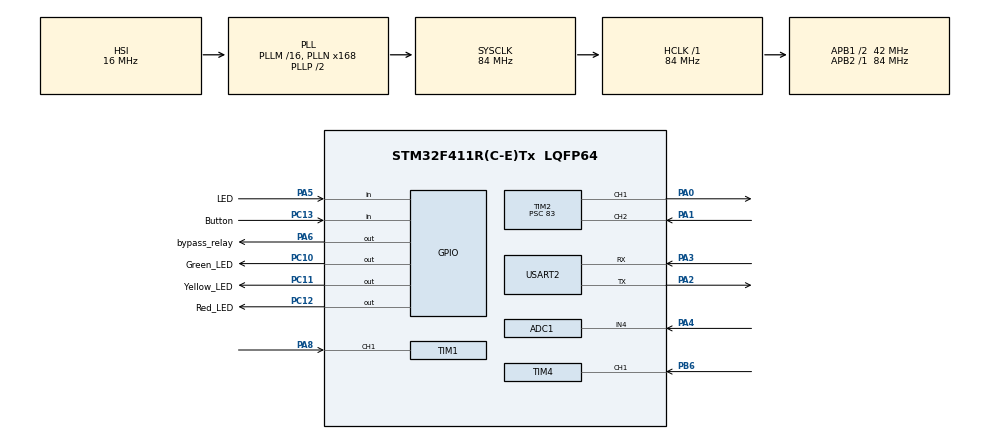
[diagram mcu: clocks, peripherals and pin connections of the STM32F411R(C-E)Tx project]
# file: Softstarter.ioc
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ADC1.Channel-12\#ChannelRegularConversion=ADC_CHANNEL_4
ADC1.ClockPrescaler=ADC_CLOCK_SYNC_PCLK_DIV4
ADC1.ContinuousConvMode=DISABLE
ADC1.DMAContinuousRequests=ENABLE
ADC1.DataAlign=ADC_DATAALIGN_RIGHT
ADC1.DiscontinuousConvMode=DISABLE
ADC1.EOCSelection=ADC_EOC_SEQ_CONV
ADC1.EnableAnalogWatchDog=false
ADC1.ExternalTrigConv=ADC_EXTERNALTRIGCONV_T3_TRGO
ADC1.ExternalTrigConvEdge=ADC_EXTERNALTRIGCONVEDGE_RISING
ADC1.InjNumberOfConversion=0
ADC1.NbrOfConversion=1
ADC1.NbrOfConversionFlag=1
ADC1.Rank-12\#ChannelRegularConversion=1
ADC1.Resolution=ADC_RESOLUTION_12B
ADC1.SamplingTime-12\#ChannelRegularConversion=ADC_SAMPLETIME_3CYCLES
ADC1.ScanConvMode=DISABLE
ADC1.master=1
Dma.ADC1.0.Direction=DMA_PERIPH_TO_MEMORY
Dma.ADC1.0.FIFOMode=DMA_FIFOMODE_DISABLE
Dma.ADC1.0.Instance=DMA2_Stream0
Dma.ADC1.0.MemDataAlignment=DMA_MDATAALIGN_HALFWORD
Dma.ADC1.0.MemInc=DMA_MINC_ENABLE
Dma.ADC1.0.Mode=DMA_CIRCULAR
Dma.ADC1.0.PeriphDataAlignment=DMA_PDATAALIGN_HALFWORD
Dma.ADC1.0.PeriphInc=DMA_PINC_DISABLE
Dma.ADC1.0.Priority=DMA_PRIORITY_LOW
Dma.Request0=ADC1
FREERTOS.Tasks01=Ramp,0,128,RampTask,Default,NULL,Dynamic,NULL,NULL;Verify,0,128,VerifyTask,Default,NULL,Dynamic,NULL,NULL;Counter,0,128,CounterTask,Default,NULL,Dynamic,NULL,NULL;Serial,0,128,SerialTask,Default,NULL,Dynamic,NULL,NULL;OverCurrent,0,128,OverCurrentTask,Default,NULL,Dynamic,NULL,NULL;Comeca,3,128,Comeca_Task,Default,NULL,Dynamic,NULL,NULL;RPM,0,128,RPMTask,Default,NULL,Dynamic,NULL,NULL
Mcu.Family=STM32F4
Mcu.Name=STM32F411R(C-E)Tx
Mcu.Package=LQFP64
NVIC.ADC_IRQn=true\:5\:0\:false\:false\:true\:true\:true
NVIC.DMA2_Stream0_IRQn=true\:5\:0\:false\:false\:true\:true\:false
NVIC.PriorityGroup=NVIC_PRIORITYGROUP_4
NVIC.TIM1_TRG_COM_TIM11_IRQn=true\:0\:0\:false\:false\:true\:false\:false
NVIC.TIM2_IRQn=true\:5\:0\:false\:false\:true\:true\:true
NVIC.TimeBase=TIM1_TRG_COM_TIM11_IRQn
NVIC.TimeBaseIP=TIM11
NVIC.USART2_IRQn=true\:5\:0\:false\:false\:true\:true\:true
PA0-WKUP.Signal=S_TIM2_CH1_ETR
PA1.Signal=S_TIM2_CH2
PA2.Mode=Asynchronous
PA2.Signal=USART2_TX
PA3.Mode=Asynchronous
PA3.Signal=USART2_RX
PA4.Signal=ADCx_IN4
PA5.GPIO_Label=LED
PA5.Signal=GPIO_Input
PA6.GPIO_Label=bypass_relay
PA6.Signal=GPIO_Output
PA8.Signal=S_TIM1_CH1
PB6.Signal=S_TIM4_CH1
PC10.GPIO_Label=Green_LED
PC10.Signal=GPIO_Output
PC11.GPIO_Label=Yellow_LED
PC11.Signal=GPIO_Output
PC12.GPIO_Label=Red_LED
PC12.Signal=GPIO_Output
PC13-ANTI_TAMP.GPIO_Label=Button
PC13-ANTI_TAMP.Signal=GPIO_Input
ProjectManager.HeapSize=0x200
ProjectManager.StackSize=0x400
ProjectManager.TargetToolchain=SW4STM32
RCC.48MHZClocksFreq_Value=42000000
RCC.AHBFreq_Value=84000000
RCC.APB1CLKDivider=RCC_HCLK_DIV2
RCC.APB1Freq_Value=42000000
RCC.APB1TimFreq_Value=84000000
RCC.APB2Freq_Value=84000000
RCC.APB2TimFreq_Value=84000000
RCC.CortexFreq_Value=84000000
RCC.HCLKFreq_Value=84000000
RCC.HSE_VALUE=25000000
RCC.HSI_VALUE=16000000
RCC.LSE_VALUE=32768
RCC.PLLN=168
RCC.SYSCLKFreq_VALUE=84000000
RCC.SYSCLKSource=RCC_SYSCLKSOURCE_PLLCLK
RCC.VCOOutputFreq_Value=168000000
SH.ADCx_IN4.0=ADC1_IN4,IN4
SH.S_TIM1_CH1.0=TIM1_CH1,TriggerSource_TI1FP1
SH.S_TIM2_CH1_ETR.0=TIM2_CH1,PWM Generation1 CH1
SH.S_TIM2_CH2.0=TIM2_CH2,TriggerSource_TI2FP2
SH.S_TIM4_CH1.0=TIM4_CH1,TriggerSource_TI1FP1
TIM1.Period=9999
TIM1.Prescaler=0
TIM2.Channel-PWM\ Generation1\ CH1=TIM_CHANNEL_1
TIM2.OCMode_PWM-PWM\ Generation1\ CH1=TIM_OCMODE_PWM2
TIM2.Period=8333
TIM2.Prescaler=83
TIM3.Period=520
TIM3.Prescaler=83
TIM3.TIM_MasterOutputTrigger=TIM_TRGO_UPDATE
TIM4.Period=9999
TIM4.Slave_TriggerFilter=0
USART2.VirtualMode=VM_ASYNC
VP_FREERTOS_VS_ENABLE.Mode=Enabled
VP_SYS_VS_tim11.Mode=TIM11
VP_TIM1_VS_ControllerModeClock.Mode=Clock Mode
VP_TIM2_VS_ClockSourceINT.Mode=Internal
VP_TIM2_VS_ControllerModeTrigger.Mode=Trigger Mode
VP_TIM2_VS_OPM.Mode=OPM_bit
VP_TIM3_VS_ClockSourceINT.Mode=Internal
VP_TIM4_VS_ControllerModeClock.Mode=Clock Mode
board=Softstarter

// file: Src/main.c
/**
 ******************************************************************************
 * @file           : main.c
 * @brief          : Main program body
 ******************************************************************************
 * This notice applies to any and all portions of this file
 * that are not between comment pairs USER CODE BEGIN and
 * USER CODE END. Other portions of this file, whether
 * inserted by the user or by software development tools
 * are owned by their respective copyright owners.
 *
 * Copyright (c) 2018 STMicroelectronics International N.V.
 * All rights reserved.
 *
 * Redistribution and use in source and binary forms, with or without
 * modification, are permitted, provided that the following conditions are met:
 *
 * 1. Redistribution of source code must retain the above copyright notice,
 *    this list of conditions and the following disclaimer.
 * 2. Redistributions in binary form must reproduce the above copyright notice,
 *    this list of conditions and the following disclaimer in the documentation
 *    and/or other materials provided with the distribution.
 * 3. Neither the name of STMicroelectronics nor the names of other
 *    contributors to this software may be used to endorse or promote products
 *    derived from this software without specific written permission.
 * 4. This software, including modifications and/or derivative works of this
 *    software, must execute solely and exclusively on microcontroller or
 *    microprocessor devices manufactured by or for STMicroelectronics.
 * 5. Redistribution and use of this software other than as permitted under
 *    this license is void and will automatically terminate your rights under
 *    this license.
 *
 * THIS SOFTWARE IS PROVIDED BY STMICROELECTRONICS AND CONTRIBUTORS "AS IS"
 * AND ANY EXPRESS, IMPLIED OR STATUTORY WARRANTIES, INCLUDING, BUT NOT
 * LIMITED TO, THE IMPLIED WARRANTIES OF MERCHANTABILITY, FITNESS FOR A
 * PARTICULAR PURPOSE AND NON-INFRINGEMENT OF THIRD PARTY INTELLECTUAL PROPERTY
 * RIGHTS ARE DISCLAIMED TO THE FULLEST EXTENT PERMITTED BY LAW. IN NO EVENT
 * SHALL STMICROELECTRONICS OR CONTRIBUTORS BE LIABLE FOR ANY DIRECT, INDIRECT,
 * INCIDENTAL, SPECIAL, EXEMPLARY, OR CONSEQUENTIAL DAMAGES (INCLUDING, BUT NOT
 * LIMITED TO, PROCUREMENT OF SUBSTITUTE GOODS OR SERVICES; LOSS OF USE, DATA,
 * OR PROFITS; OR BUSINESS INTERRUPTION) HOWEVER CAUSED AND ON ANY THEORY OF
 * LIABILITY, WHETHER IN CONTRACT, STRICT LIABILITY, OR TORT (INCLUDING
 * NEGLIGENCE OR OTHERWISE) ARISING IN ANY WAY OUT OF THE USE OF THIS SOFTWARE,
 * EVEN IF ADVISED OF THE POSSIBILITY OF SUCH DAMAGE.
 *
 ******************************************************************************
 */
#include "main.h"
#include "math.h"
#include "stdio.h"
#include "stm32f4xx_hal.h"
#include "cmsis_os.h"

ADC_HandleTypeDef hadc1;
DMA_HandleTypeDef hdma_adc1;

TIM_HandleTypeDef htim1;
TIM_HandleTypeDef htim2;
TIM_HandleTypeDef htim3;
TIM_HandleTypeDef htim4;

UART_HandleTypeDef huart2;

osThreadId RampHandle;
osThreadId VerifyHandle;
osThreadId CounterHandle;
osThreadId SerialHandle;
osThreadId OverCurrentHandle;
osThreadId ComecaHandle;
osThreadId RPMHandle;

/* USER CODE BEGIN PV */
/* Private variables ---------------------------------------------------------*/

/* USER CODE END PV */

void SystemClock_Config(void);
static void MX_GPIO_Init(void);
static void MX_DMA_Init(void);
static void MX_USART2_UART_Init(void);
static void MX_TIM2_Init(void);
static void MX_TIM1_Init(void);
static void MX_ADC1_Init(void);
static void MX_TIM3_Init(void);
static void MX_TIM4_Init(void);

//! Counts up or down depending on the settings
void RampTask(void const * argument);

//! Monitors the current percentage and if the board button is pressed
void VerifyTask(void const * argument);

//! Verifies for the end of ramps and 150% overcurrent protection
void CounterTask(void const * argument);

//! Responsable for the serial stuff
void SerialTask(void const * argument);

//! Calculates the RMS current based on the ADC read
void OverCurrentTask(void const * argument);

//! Initialize all the peripherals and then lock the thread itself
void Comeca_Task(void const * argument);

//! Measure and calculates the RPM
void RPMTask(void const * argument);

void HAL_TIM_MspPostInit(TIM_HandleTypeDef *htim);

/* USER CODE BEGIN PFP */
/* Private function prototypes -----------------------------------------------*/
//! If it's on the soft is in a ramp
char fg_Start = 0;

//! Shows if the soft is idle
char fg_End = 1;

//! Indicates if the ADC conversion is over
char fg_ADC_current = 0;

//! Is the acceleration time in milliseconds
int tempo_up = 10000;

//! Deceleration time in milliseconds
int tempo_down = 7000;

//! time used as a reference for the ramps in milliseconds
float tempo;

//! Delay to the pulse on triac in microseconds
int PULSE_DELAY = 8330;

//! Width of the triac's pulse in microseconds
int PULSE_WIDTH = 1;

//! Reference pulse width for the triac in microseconds
int PULSE_WIDTH_CONST = 1000;

//! Minimal delay time to triac
int minimal_delay = 500;

//! It's part of the process to determine the PULSE_DELAY
float delay;

//! Defines if it's a acceleration or deceleration ramp
int RampUp = 1;

//! Is the RPM of the motor
int RPM;

//! The time variable responsible for the entire counting process
int counter;

//! Is the current RMS
int Irms;

//! Is the relation between the 12 bits from the ADC and the current itself. It basically converts the voltage into current
float relation = 1.4325;

//! Is the nominal current of the motor
int corrente_nominal = 400;

//! Indicates if the soft shall start through the serial
int fg_serial = 0;

//! Is a vector of reads from the ADC
uint16_t adc_current[16];

/* USER CODE END PFP */

/* USER CODE BEGIN 0 */

//! Is the callback from the DMA which stands for the end of conversion
void HAL_ADC_ConvCpltCallback(ADC_HandleTypeDef* hadc) {
	fg_ADC_current = 1;
}
/* USER CODE END 0 */

int main(void) {

	/* MCU Configuration----------------------------------------------------------*/

	/* Reset of all peripherals, Initializes the Flash interface and the Systick. */
	HAL_Init();

	/* Configure the system clock */
	SystemClock_Config();

	/* Initialize all configured peripherals */
	MX_GPIO_Init();
	MX_DMA_Init();
	MX_USART2_UART_Init();
	MX_TIM2_Init();
	MX_TIM1_Init();
	MX_ADC1_Init();
	MX_TIM3_Init();
	MX_TIM4_Init();

	/* Create the thread(s) */
	/* definition and creation of Ramp */
	osThreadDef(Ramp, RampTask, osPriorityNormal, 0, 128);
	RampHandle = osThreadCreate(osThread(Ramp), NULL);

	/* definition and creation of Verify */
	osThreadDef(Verify, VerifyTask, osPriorityNormal, 0, 128);
	VerifyHandle = osThreadCreate(osThread(Verify), NULL);

	/* definition and creation of Counter */
	osThreadDef(Counter, CounterTask, osPriorityNormal, 0, 128);
	CounterHandle = osThreadCreate(osThread(Counter), NULL);

	/* definition and creation of Serial */
	osThreadDef(Serial, SerialTask, osPriorityNormal, 0, 128);
	SerialHandle = osThreadCreate(osThread(Serial), NULL);

	/* definition and creation of OverCurrent */
	osThreadDef(OverCurrent, OverCurrentTask, osPriorityNormal, 0, 128);
	OverCurrentHandle = osThreadCreate(osThread(OverCurrent), NULL);

	/* definition and creation of Comeca */
	osThreadDef(Comeca, Comeca_Task, osPriorityRealtime, 0, 128);
	ComecaHandle = osThreadCreate(osThread(Comeca), NULL);

	/* definition and creation of RPM */
	osThreadDef(RPM, RPMTask, osPriorityNormal, 0, 128);
	RPMHandle = osThreadCreate(osThread(RPM), NULL);

	/* Start scheduler */
	osKernelStart();

	/* We should never get here as control is now taken by the scheduler */

	/* Infinite loop */
	while (1) {

	}

}

void SystemClock_Config(void) {

	RCC_OscInitTypeDef RCC_OscInitStruct;
	RCC_ClkInitTypeDef RCC_ClkInitStruct;

	/**Configure the main internal regulator output voltage
	 */
	__HAL_RCC_PWR_CLK_ENABLE()
	;

	__HAL_PWR_VOLTAGESCALING_CONFIG(PWR_REGULATOR_VOLTAGE_SCALE1);

	/**Initializes the CPU, AHB and APB busses clocks
	 */
	RCC_OscInitStruct.OscillatorType = RCC_OSCILLATORTYPE_HSI;
	RCC_OscInitStruct.HSIState = RCC_HSI_ON;
	RCC_OscInitStruct.HSICalibrationValue = 16;
	RCC_OscInitStruct.PLL.PLLState = RCC_PLL_ON;
	RCC_OscInitStruct.PLL.PLLSource = RCC_PLLSOURCE_HSI;
	RCC_OscInitStruct.PLL.PLLM = 16;
	RCC_OscInitStruct.PLL.PLLN = 168;
	RCC_OscInitStruct.PLL.PLLP = RCC_PLLP_DIV2;
	RCC_OscInitStruct.PLL.PLLQ = 4;
	if (HAL_RCC_OscConfig(&RCC_OscInitStruct) != HAL_OK) {
		_Error_Handler(__FILE__, __LINE__);
	}

	/**Initializes the CPU, AHB and APB busses clocks
	 */
	RCC_ClkInitStruct.ClockType = RCC_CLOCKTYPE_HCLK | RCC_CLOCKTYPE_SYSCLK
			| RCC_CLOCKTYPE_PCLK1 | RCC_CLOCKTYPE_PCLK2;
	RCC_ClkInitStruct.SYSCLKSource = RCC_SYSCLKSOURCE_PLLCLK;
	RCC_ClkInitStruct.AHBCLKDivider = RCC_SYSCLK_DIV1;
	RCC_ClkInitStruct.APB1CLKDivider = RCC_HCLK_DIV2;
	RCC_ClkInitStruct.APB2CLKDivider = RCC_HCLK_DIV1;

	if (HAL_RCC_ClockConfig(&RCC_ClkInitStruct, FLASH_LATENCY_2) != HAL_OK) {
		_Error_Handler(__FILE__, __LINE__);
	}

	/**Configure the Systick interrupt time
	 */
	HAL_SYSTICK_Config(HAL_RCC_GetHCLKFreq() / 1000);

	/**Configure the Systick
	 */
	HAL_SYSTICK_CLKSourceConfig(SYSTICK_CLKSOURCE_HCLK);

	/* SysTick_IRQn interrupt configuration */
	HAL_NVIC_SetPriority(SysTick_IRQn, 15, 0);
}

/* ADC1 init function */
static void MX_ADC1_Init(void) {

	ADC_ChannelConfTypeDef sConfig;

	/**Configure the global features of the ADC (Clock, Resolution, Data Alignment and number of conversion)
	 */
	hadc1.Instance = ADC1;
	hadc1.Init.ClockPrescaler = ADC_CLOCK_SYNC_PCLK_DIV4;
	hadc1.Init.Resolution = ADC_RESOLUTION_12B;
	hadc1.Init.ScanConvMode = DISABLE;
	hadc1.Init.ContinuousConvMode = DISABLE;
	hadc1.Init.DiscontinuousConvMode = DISABLE;
	hadc1.Init.ExternalTrigConvEdge = ADC_EXTERNALTRIGCONVEDGE_RISING;
	hadc1.Init.ExternalTrigConv = ADC_EXTERNALTRIGCONV_T3_TRGO;
	hadc1.Init.DataAlign = ADC_DATAALIGN_RIGHT;
	hadc1.Init.NbrOfConversion = 1;
	hadc1.Init.DMAContinuousRequests = ENABLE;
	hadc1.Init.EOCSelection = ADC_EOC_SEQ_CONV;
	if (HAL_ADC_Init(&hadc1) != HAL_OK) {
		_Error_Handler(__FILE__, __LINE__);
	}

	/**Configure for the selected ADC regular channel its corresponding rank in the sequencer and its sample time.
	 */
	sConfig.Channel = ADC_CHANNEL_4;
	sConfig.Rank = 1;
	sConfig.SamplingTime = ADC_SAMPLETIME_3CYCLES;
	if (HAL_ADC_ConfigChannel(&hadc1, &sConfig) != HAL_OK) {
		_Error_Handler(__FILE__, __LINE__);
	}

}

/* TIM1 init function */
static void MX_TIM1_Init(void) {

	TIM_SlaveConfigTypeDef sSlaveConfig;
	TIM_MasterConfigTypeDef sMasterConfig;

	htim1.Instance = TIM1;
	htim1.Init.Prescaler = 0;
	htim1.Init.CounterMode = TIM_COUNTERMODE_UP;
	htim1.Init.Period = 9999;
	htim1.Init.ClockDivision = TIM_CLOCKDIVISION_DIV1;
	htim1.Init.RepetitionCounter = 0;
	if (HAL_TIM_Base_Init(&htim1) != HAL_OK) {
		_Error_Handler(__FILE__, __LINE__);
	}

	sSlaveConfig.SlaveMode = TIM_SLAVEMODE_EXTERNAL1;
	sSlaveConfig.InputTrigger = TIM_TS_TI1FP1;
	sSlaveConfig.TriggerPolarity = TIM_TRIGGERPOLARITY_RISING;
	sSlaveConfig.TriggerFilter = 0;
	if (HAL_TIM_SlaveConfigSynchronization(&htim1, &sSlaveConfig) != HAL_OK) {
		_Error_Handler(__FILE__, __LINE__);
	}

	sMasterConfig.MasterOutputTrigger = TIM_TRGO_RESET;
	sMasterConfig.MasterSlaveMode = TIM_MASTERSLAVEMODE_DISABLE;
	if (HAL_TIMEx_MasterConfigSynchronization(&htim1, &sMasterConfig)
			!= HAL_OK) {
		_Error_Handler(__FILE__, __LINE__);
	}

}

/* TIM2 init function */
static void MX_TIM2_Init(void) {

	TIM_ClockConfigTypeDef sClockSourceConfig;
	TIM_SlaveConfigTypeDef sSlaveConfig;
	TIM_MasterConfigTypeDef sMasterConfig;
	TIM_OC_InitTypeDef sConfigOC;

	htim2.Instance = TIM2;
	htim2.Init.Prescaler = 83;
	htim2.Init.CounterMode = TIM_COUNTERMODE_UP;
	htim2.Init.Period = 8333;
	htim2.Init.ClockDivision = TIM_CLOCKDIVISION_DIV1;
	if (HAL_TIM_Base_Init(&htim2) != HAL_OK) {
		_Error_Handler(__FILE__, __LINE__);
	}

	sClockSourceConfig.ClockSource = TIM_CLOCKSOURCE_INTERNAL;
	if (HAL_TIM_ConfigClockSource(&htim2, &sClockSourceConfig) != HAL_OK) {
		_Error_Handler(__FILE__, __LINE__);
	}

	if (HAL_TIM_PWM_Init(&htim2) != HAL_OK) {
		_Error_Handler(__FILE__, __LINE__);
	}

	if (HAL_TIM_OnePulse_Init(&htim2, TIM_OPMODE_SINGLE) != HAL_OK) {
		_Error_Handler(__FILE__, __LINE__);
	}

	sSlaveConfig.SlaveMode = TIM_SLAVEMODE_TRIGGER;
	sSlaveConfig.InputTrigger = TIM_TS_TI2FP2;
	sSlaveConfig.TriggerPolarity = TIM_TRIGGERPOLARITY_RISING;
	sSlaveConfig.TriggerFilter = 0;
	if (HAL_TIM_SlaveConfigSynchronization(&htim2, &sSlaveConfig) != HAL_OK) {
		_Error_Handler(__FILE__, __LINE__);
	}

	sMasterConfig.MasterOutputTrigger = TIM_TRGO_RESET;
	sMasterConfig.MasterSlaveMode = TIM_MASTERSLAVEMODE_DISABLE;
	if (HAL_TIMEx_MasterConfigSynchronization(&htim2, &sMasterConfig)
			!= HAL_OK) {
		_Error_Handler(__FILE__, __LINE__);
	}

	sConfigOC.OCMode = TIM_OCMODE_PWM2;
	sConfigOC.Pulse = 0;
	sConfigOC.OCPolarity = TIM_OCPOLARITY_HIGH;
	sConfigOC.OCFastMode = TIM_OCFAST_DISABLE;
	if (HAL_TIM_PWM_ConfigChannel(&htim2, &sConfigOC, TIM_CHANNEL_1)
			!= HAL_OK) {
		_Error_Handler(__FILE__, __LINE__);
	}

	HAL_TIM_MspPostInit(&htim2);

}

/* TIM3 init function */
static void MX_TIM3_Init(void) {

	TIM_ClockConfigTypeDef sClockSourceConfig;
	TIM_MasterConfigTypeDef sMasterConfig;

	htim3.Instance = TIM3;
	htim3.Init.Prescaler = 83;
	htim3.Init.CounterMode = TIM_COUNTERMODE_UP;
	htim3.Init.Period = 520;
	htim3.Init.ClockDivision = TIM_CLOCKDIVISION_DIV1;
	if (HAL_TIM_Base_Init(&htim3) != HAL_OK) {
		_Error_Handler(__FILE__, __LINE__);
	}

	sClockSourceConfig.ClockSource = TIM_CLOCKSOURCE_INTERNAL;
	if (HAL_TIM_ConfigClockSource(&htim3, &sClockSourceConfig) != HAL_OK) {
		_Error_Handler(__FILE__, __LINE__);
	}

	sMasterConfig.MasterOutputTrigger = TIM_TRGO_UPDATE;
	sMasterConfig.MasterSlaveMode = TIM_MASTERSLAVEMODE_DISABLE;
	if (HAL_TIMEx_MasterConfigSynchronization(&htim3, &sMasterConfig)
			!= HAL_OK) {
		_Error_Handler(__FILE__, __LINE__);
	}

}

/* TIM4 init function */
static void MX_TIM4_Init(void) {

	TIM_SlaveConfigTypeDef sSlaveConfig;
	TIM_MasterConfigTypeDef sMasterConfig;

	htim4.Instance = TIM4;
	htim4.Init.Prescaler = 0;
	htim4.Init.CounterMode = TIM_COUNTERMODE_UP;
	htim4.Init.Period = 9999;
	htim4.Init.ClockDivision = TIM_CLOCKDIVISION_DIV1;
	if (HAL_TIM_Base_Init(&htim4) != HAL_OK) {
		_Error_Handler(__FILE__, __LINE__);
	}

	sSlaveConfig.SlaveMode = TIM_SLAVEMODE_EXTERNAL1;
	sSlaveConfig.InputTrigger = TIM_TS_TI1FP1;
	sSlaveConfig.TriggerPolarity = TIM_TRIGGERPOLARITY_RISING;
	sSlaveConfig.TriggerFilter = 0;
	if (HAL_TIM_SlaveConfigSynchronization(&htim4, &sSlaveConfig) != HAL_OK) {
		_Error_Handler(__FILE__, __LINE__);
	}

	sMasterConfig.MasterOutputTrigger = TIM_TRGO_RESET;
	sMasterConfig.MasterSlaveMode = TIM_MASTERSLAVEMODE_DISABLE;
	if (HAL_TIMEx_MasterConfigSynchronization(&htim4, &sMasterConfig)
			!= HAL_OK) {
		_Error_Handler(__FILE__, __LINE__);
	}

}

/* USART2 init function */
static void MX_USART2_UART_Init(void) {

	huart2.Instance = USART2;
	huart2.Init.BaudRate = 115200;
	huart2.Init.WordLength = UART_WORDLENGTH_8B;
	huart2.Init.StopBits = UART_STOPBITS_1;
	huart2.Init.Parity = UART_PARITY_NONE;
	huart2.Init.Mode = UART_MODE_TX_RX;
	huart2.Init.HwFlowCtl = UART_HWCONTROL_NONE;
	huart2.Init.OverSampling = UART_OVERSAMPLING_16;
	if (HAL_UART_Init(&huart2) != HAL_OK) {
		_Error_Handler(__FILE__, __LINE__);
	}

}

static void MX_DMA_Init(void) {
	/* DMA controller clock enable */
	__HAL_RCC_DMA2_CLK_ENABLE()
	;

	/* DMA interrupt init */
	/* DMA2_Stream0_IRQn interrupt configuration */
	HAL_NVIC_SetPriority(DMA2_Stream0_IRQn, 5, 0);
	HAL_NVIC_EnableIRQ(DMA2_Stream0_IRQn);

}

/** Configure pins as
 * Analog
 * Input
 * Output
 * EVENT_OUT
 * EXTI
 */
static void MX_GPIO_Init(void) {

	GPIO_InitTypeDef GPIO_InitStruct;

	/* GPIO Ports Clock Enable */
	__HAL_RCC_GPIOC_CLK_ENABLE()
	;
	__HAL_RCC_GPIOA_CLK_ENABLE()
	;
	__HAL_RCC_GPIOB_CLK_ENABLE()
	;

	/*Configure GPIO pin Output Level */
	HAL_GPIO_WritePin(bypass_relay_GPIO_Port, bypass_relay_Pin, GPIO_PIN_RESET);

	/*Configure GPIO pin Output Level */
	HAL_GPIO_WritePin(GPIOC, Green_LED_Pin | Yellow_LED_Pin | Red_LED_Pin,
			GPIO_PIN_RESET);

	/*Configure GPIO pin : Button_Pin */
	GPIO_InitStruct.Pin = Button_Pin;
	GPIO_InitStruct.Mode = GPIO_MODE_INPUT;
	GPIO_InitStruct.Pull = GPIO_NOPULL;
	HAL_GPIO_Init(Button_GPIO_Port, &GPIO_InitStruct);

	/*Configure GPIO pin : LED_Pin */
	GPIO_InitStruct.Pin = LED_Pin;
	GPIO_InitStruct.Mode = GPIO_MODE_INPUT;
	GPIO_InitStruct.Pull = GPIO_NOPULL;
	HAL_GPIO_Init(LED_GPIO_Port, &GPIO_InitStruct);

	/*Configure GPIO pin : bypass_relay_Pin */
	GPIO_InitStruct.Pin = bypass_relay_Pin;
	GPIO_InitStruct.Mode = GPIO_MODE_OUTPUT_PP;
	GPIO_InitStruct.Pull = GPIO_NOPULL;
	GPIO_InitStruct.Speed = GPIO_SPEED_FREQ_LOW;
	HAL_GPIO_Init(bypass_relay_GPIO_Port, &GPIO_InitStruct);

	/*Configure GPIO pins : Green_LED_Pin Yellow_LED_Pin Red_LED_Pin */
	GPIO_InitStruct.Pin = Green_LED_Pin | Yellow_LED_Pin | Red_LED_Pin;
	GPIO_InitStruct.Mode = GPIO_MODE_OUTPUT_PP;
	GPIO_InitStruct.Pull = GPIO_NOPULL;
	GPIO_InitStruct.Speed = GPIO_SPEED_FREQ_LOW;
	HAL_GPIO_Init(GPIOC, &GPIO_InitStruct);

}

/* RampTask function */
void RampTask(void const * argument) {

	/* USER CODE BEGIN 5 */
	/* Infinite loop */
	for (;;) {
		if (__HAL_TIM_GET_COUNTER(&htim2) <= (PULSE_DELAY - 500)) {
			__HAL_TIM_SET_AUTORELOAD(&htim2, PULSE_DELAY + PULSE_WIDTH - 1);
			__HAL_TIM_SET_COMPARE(&htim2, TIM_CHANNEL_1, PULSE_DELAY);

		}
		osDelay(25);
	}
	/* USER CODE END 5 */
}

/* VerifyTask function */
void VerifyTask(void const * argument) {
	/* USER CODE BEGIN VerifyTask */
	/* Infinite loop */

	for (;;) {
		if ((HAL_GPIO_ReadPin(Button_GPIO_Port, Button_Pin) == GPIO_PIN_RESET
				|| fg_serial) && fg_End == 1) {

			fg_serial = 0;
			fg_Start = 1;
			fg_End = 0;
			if (RampUp == 1) {
				tempo = tempo_up;
				counter = tempo;
			} else {
				HAL_GPIO_WritePin(bypass_relay_GPIO_Port, bypass_relay_Pin,
						GPIO_PIN_RESET);
				tempo = tempo_down;
				counter = 0;
			}
		}

		if (Irms >= 0 && Irms < corrente_nominal * 1.5) {
			HAL_GPIO_WritePin(GPIOC, Green_LED_Pin, GPIO_PIN_SET);
			HAL_GPIO_WritePin(GPIOC, Yellow_LED_Pin, GPIO_PIN_RESET);
			HAL_GPIO_WritePin(GPIOC, Red_LED_Pin, GPIO_PIN_RESET);
		}

		if (Irms > corrente_nominal * 1.5 && Irms < corrente_nominal * 2) {
			HAL_GPIO_WritePin(GPIOC, Green_LED_Pin, GPIO_PIN_RESET);
			HAL_GPIO_WritePin(GPIOC, Yellow_LED_Pin, GPIO_PIN_SET);
			HAL_GPIO_WritePin(GPIOC, Red_LED_Pin, GPIO_PIN_RESET);
		}

		if (Irms > corrente_nominal * 2) {
			HAL_GPIO_WritePin(GPIOC, Green_LED_Pin, GPIO_PIN_RESET);
			HAL_GPIO_WritePin(GPIOC, Yellow_LED_Pin, GPIO_PIN_RESET);
			HAL_GPIO_WritePin(GPIOC, Red_LED_Pin, GPIO_PIN_SET);

			HAL_GPIO_WritePin(bypass_relay_GPIO_Port, bypass_relay_Pin,
					GPIO_PIN_RESET);
			counter = 1;
			RampUp = 1;
			fg_Start = 0;
			fg_End = 1;
			PULSE_DELAY = 8330;
			PULSE_WIDTH = 1;
		}

		osDelay(20);
	}
	/* USER CODE END VerifyTask */
}

/* CounterTask function */
void CounterTask(void const * argument) {
	/* USER CODE BEGIN CounterTask */
	/* Infinite loop */
	for (;;) {

		//Verifies if acceleration ramp is over
		if (RampUp == 1 && counter <= 0) {
			HAL_GPIO_WritePin(bypass_relay_GPIO_Port, bypass_relay_Pin,
					GPIO_PIN_SET);
			fg_Start = 0;
			fg_End = 1;
			RampUp = !RampUp;
		}

		//Verifies if deceleration ramp is over
		if (RampUp == 0 && counter >= tempo) {
			fg_Start = 0;
			fg_End = 1;
			RampUp = !RampUp;
		}
		if (fg_Start) {
			if (RampUp == 1) {
				counter = counter - 2;
				if (HAL_GPIO_ReadPin(GPIOC, Yellow_LED_Pin) == GPIO_PIN_SET)
					counter = counter + 2;
			}
			if (RampUp == 0)
				counter = counter + 2;

			delay = (counter / tempo * (8333 - minimal_delay));
			PULSE_DELAY = delay + minimal_delay;

		}

		if ((PULSE_DELAY >= (8333 - PULSE_WIDTH) && RampUp == 0))
			PULSE_WIDTH = (8333 - PULSE_DELAY);
		if ((PULSE_WIDTH < PULSE_WIDTH_CONST && RampUp == 1))
			PULSE_WIDTH = (8333 - PULSE_DELAY);

		osDelay(2);
	}
	/* USER CODE END CounterTask */
}

/* SerialTask function */
void SerialTask(void const * argument) {
	/* USER CODE BEGIN SerialTask */
	/* Infinite loop */
	char rx, tempo_serial[6];
	char texto[100];
	int fg_status = 0;
	int size, aux;
	int numero;

	for (;;) {

		//Sends an overview of the current status
		if (fg_status) {
			//size =sprintf(texto,"Counter = %d	Tempo de delay = %d	Fg_start = %d	RPM = %d	\n",counter, PULSE_DELAY, fg_Start, RPM);
			size = sprintf(texto, "Irms = %d\n", Irms);
			HAL_UART_Transmit(&huart2, texto, size, 100);
			osDelay(100);
		}

		if (HAL_UART_Receive(&huart2, tempo_serial, 3, 1) == HAL_OK) {

			if (tempo_serial[0] == 'u') {
				tempo_serial[0] = tempo_serial[1];
				tempo_serial[1] = tempo_serial[2];
				tempo_serial[2] = 0;
				tempo_serial[3] = 0;

				tempo_up = atoi(tempo_serial);
				tempo_up *= 1000;
				fg_serial = 1;
			}

			if (tempo_serial[0] == 'd') {
				tempo_serial[0] = tempo_serial[1];
				tempo_serial[1] = tempo_serial[2];
				tempo_serial[2] = 0;
				tempo_serial[3] = 0;

				tempo_down = atoi(tempo_serial);
				tempo_down *= 1000;
				fg_serial = 1;
			}

			if (tempo_serial[0] == '$') {
				size = sprintf(texto, "I%i;R%i\n", Irms, RPM);
				HAL_UART_Transmit(&huart2, texto, size, 100);
			}

		}

		//Receives a single char from serial
		//HAL_UART_Receive(&huart2, &rx, 1, 1);
		//osDelay(1);

		//u stands for changing the acceleration time
		if (rx == 'u') {
			if (HAL_UART_Receive(&huart2, tempo_serial, 2, 5000) == HAL_OK) {
				tempo_up = atoi(tempo_serial);
				tempo_up *= 1000;

				fg_serial = 1;
//				if (RampUp == 1 && fg_End == 1) {
//					tempo = tempo_up;
//					counter = tempo;
//					fg_Start = 1;
//					fg_End = 0;
//				}

			} else {
				size = sprintf(texto, "TIMEOUT - Acceleration Time\n");
				HAL_UART_Transmit(&huart2, texto, size, 100);
			}
		}

		//d stand for changing the deceleration time
		if (rx == 'd') {
			if (HAL_UART_Receive(&huart2, tempo_serial, 2, 5000) == HAL_OK) {
				tempo_down = atoi(tempo_serial);
				tempo_down *= 1000;

				fg_serial = 1;

//				fg_Start = 1;
//				fg_End = 0;
//				HAL_GPIO_WritePin(bypass_relay_GPIO_Port, bypass_relay_Pin,
//						GPIO_PIN_RESET);

				//counter = 0;

			} else {
				size = sprintf(texto, "TIMEOUT - Deceleration Time\n");
				HAL_UART_Transmit(&huart2, texto, size, 100);
			}
		}

		//t stand for toggling the status through the serial
		if (rx == 't') {
			if (fg_status == 0)
				fg_status = 1;
			else
				fg_status = 0;
		}

		//c stand for defining the new relation of current
		if (rx == 'c') {
			if (HAL_UART_Receive(&huart2, tempo_serial, 3, 3000) == HAL_OK) {
				relation = 1;
				osDelay(250);
				relation = Irms;
				relation /= atoi(tempo_serial);

				corrente_nominal = atoi(tempo_serial);

				//relation = Irms/atoi(tempo_serial);
			}
		}

		//h stand for printing a serial command list
		if (rx == 'h') {
			size =
					sprintf(texto,
							"LIST OF SERIAL COMMANDS:\nu - Changes the acceleration time\nd - changes the deceleration time\nt - toggles the status through the serial\nh - prints the help menu\n");
			HAL_UART_Transmit(&huart2, texto, size, 100);
		}

		if (rx == '#') {
			size = sprintf(texto, "u %i d %i\n", tempo_up, tempo_down);
			HAL_UART_Transmit(&huart2, texto, size, 100);
		}

		rx = 0;
		osDelay(1);
	}
	/* USER CODE END SerialTask */
}

/* OverCurrentTask function */
void OverCurrentTask(void const * argument) {
	/* USER CODE BEGIN OverCurrentTask */
	/* Infinite loop */
	float ADC_value[16];
	int index = 0;
	int aux;
	int result;
	int rms;
	int Medidas_ADC = 16;
	int sum[32];

	for (;;) {
		if (fg_ADC_current) {
			fg_ADC_current = 0;

			for (aux = 0; aux < Medidas_ADC; aux++) { //Faz com que o valor seja de 311 de pico com 2v na entrada
				//ADC_value[aux] = (adc_current[aux] / relation); //Rela��o entre 311 e o valor do AD pra 2v
				ADC_value[aux] = (adc_current[aux]); //Rela��o entre 311 e o valor do AD pra 2v
			}

			rms = 0;
			for (aux = 0; aux < Medidas_ADC; aux++) {
				rms += pow(ADC_value[aux], 2);
			}

			rms = sqrt((rms / Medidas_ADC));

			rms /= relation;

			if (index > 31) {
				index = 0;
				Irms = 0;
				for (aux = 0; aux < 32; aux++) {
					Irms += sum[aux];
				}
				Irms /= 32;
				Irms -= 5;
				if (Irms < 0)
					Irms = 0;
			}

			sum[index] = rms;
			index++;
			//quando der overcurrent mandar um "i" via serial (S� O CARACTER)
			//quando der overvoltage mandar um "v" via serial (S� O CARACTER)

		}

		osDelay(10);
	}
	/* USER CODE END OverCurrentTask */
}

/* Comeca_Task function */
void Comeca_Task(void const * argument) {
	/* USER CODE BEGIN Comeca_Task */
	/* Infinite loop */
	char texto[50];
	int size;

	tempo = tempo_up;
	counter = tempo;

	HAL_ADC_Start_DMA(&hadc1, (uint32_t *) adc_current, 16); //N�O CONSIGO FAZER ESSA PORRA FUNCIONAR!!!!!
	HAL_TIM_Base_Start(&htim3);
	HAL_TIM_Base_Start(&htim1);

	HAL_TIM_PWM_Start(&htim2, TIM_CHANNEL_1);

	__HAL_TIM_SET_AUTORELOAD(&htim2, PULSE_DELAY + PULSE_WIDTH - 1);
	__HAL_TIM_SET_COMPARE(&htim2, TIM_CHANNEL_1, PULSE_DELAY);

	size = sprintf(texto, "Iniciando perifericos");
	HAL_UART_Transmit(&huart2, texto, size, 100);

	vTaskSuspend(ComecaHandle);

	size = sprintf(texto, "fechando perifericos");
	HAL_UART_Transmit(&huart2, texto, size, 100);

	for (;;) {
		osDelay(1);
	}
	/* USER CODE END Comeca_Task */
}

/* RPMTask function */
void RPMTask(void const * argument) {
	/* USER CODE BEGIN RPMTask */
	/* Infinite loop */
	int size;
	char texto[100];
	for (;;) {
		RPM = __HAL_TIM_GET_COUNTER(&htim1);
		RPM *= 60;

		size = sprintf(texto, "RPM: %d\n", RPM);
		//HAL_UART_Transmit(&huart2, texto, size, 100);

		__HAL_TIM_SET_COUNTER(&htim1, 0);

		osDelay(1000);
	}
	/* USER CODE END RPMTask */
}

void HAL_TIM_PeriodElapsedCallback(TIM_HandleTypeDef *htim) {
	if (htim->Instance == TIM11) {
		HAL_IncTick();
	}
}

void _Error_Handler(char *file, int line) {
	while (1) {
	}
}

/************************ (C) COPYRIGHT STMicroelectronics *****END OF FILE****/
